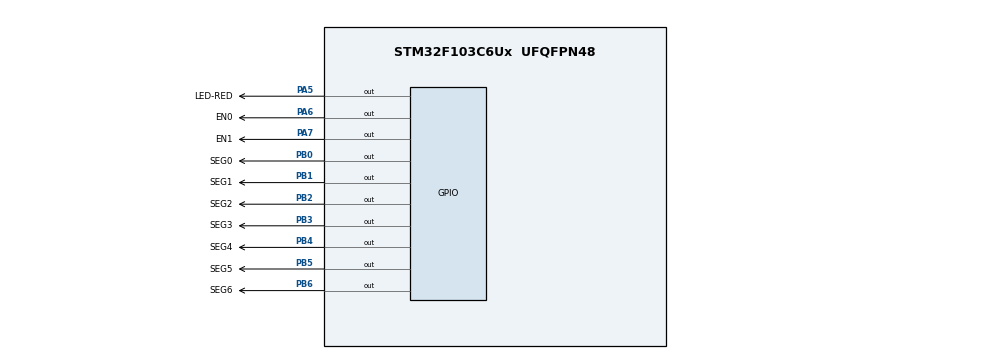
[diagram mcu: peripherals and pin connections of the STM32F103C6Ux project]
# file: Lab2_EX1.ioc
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Mcu.Family=STM32F1
Mcu.Name=STM32F103C6Ux
Mcu.Package=UFQFPN48
NVIC.PriorityGroup=NVIC_PRIORITYGROUP_4
NVIC.TIM2_IRQn=true\:0\:0\:false\:false\:true\:true\:true
PA5.GPIO_Label=LED-RED
PA5.Signal=GPIO_Output
PA6.GPIO_Label=EN0
PA6.Signal=GPIO_Output
PA7.GPIO_Label=EN1
PA7.Signal=GPIO_Output
PB0.GPIO_Label=SEG0
PB0.Signal=GPIO_Output
PB1.GPIO_Label=SEG1
PB1.Signal=GPIO_Output
PB2.GPIO_Label=SEG2
PB2.Signal=GPIO_Output
PB3.GPIO_Label=SEG3
PB3.Signal=GPIO_Output
PB4.GPIO_Label=SEG4
PB4.Signal=GPIO_Output
PB5.GPIO_Label=SEG5
PB5.Signal=GPIO_Output
PB6.GPIO_Label=SEG6
PB6.Signal=GPIO_Output
ProjectManager.HeapSize=0x200
ProjectManager.StackSize=0x400
ProjectManager.TargetToolchain=STM32CubeIDE
RCC.APB1Freq_Value=8000000
RCC.APB2Freq_Value=8000000
TIM2.Period=9
TIM2.Prescaler=7999
VP_SYS_VS_ND.Mode=No_Debug
VP_TIM2_VS_ClockSourceINT.Mode=Internal
board=custom

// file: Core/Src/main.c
/* USER CODE BEGIN Header */
/**
  ******************************************************************************
  * @file           : main.c
  * @brief          : Main program body
  ******************************************************************************
  * @attention
  *
  * <h2><center>&copy; Copyright (c) 2025 STMicroelectronics.
  * All rights reserved.</center></h2>
  *
  * This software component is licensed by ST under BSD 3-Clause license,
  * the "License"; You may not use this file except in compliance with the
  * License. You may obtain a copy of the License at:
  *                        opensource.org/licenses/BSD-3-Clause
  *
  ******************************************************************************
  */
/* USER CODE END Header */
#include "main.h"

TIM_HandleTypeDef htim2;

void SystemClock_Config(void);
static void MX_GPIO_Init(void);
static void MX_TIM2_Init(void);

/* USER CODE BEGIN 0 */
static const uint8_t segCode[10] = {
    0b1000000, // 0
    0b1111001, // 1
    0b0100100, // 2
    0b0110000, // 3
    0b0011001, // 4
    0b0010010, // 5
    0b0000010, // 6
    0b1111000, // 7
    0b0000000, // 8
    0b0010000  // 9
};

void display7SEG(int num) {
    if (num < 0 || num > 9) num = 0;

    for (int i = 0; i < 7; i++) {
        HAL_GPIO_WritePin(GPIOB, (1 << i),
            (segCode[num] & (1 << i)) ? GPIO_PIN_SET : GPIO_PIN_RESET);
    }
}
/* USER CODE END 0 */

int main(void)
{

  /* MCU Configuration--------------------------------------------------------*/

  /* Reset of all peripherals, Initializes the Flash interface and the Systick. */
  HAL_Init();

  /* Configure the system clock */
  SystemClock_Config();

  /* Initialize all configured peripherals */
  MX_GPIO_Init();
  MX_TIM2_Init();
  /* USER CODE BEGIN 2 */
  HAL_TIM_Base_Start_IT (& htim2 );

  /* USER CODE END 2 */

  /* Infinite loop */
  while (1)
  {

  }
}

void SystemClock_Config(void)
{
  RCC_OscInitTypeDef RCC_OscInitStruct = {0};
  RCC_ClkInitTypeDef RCC_ClkInitStruct = {0};

  /** Initializes the RCC Oscillators according to the specified parameters
  * in the RCC_OscInitTypeDef structure.
  */
  RCC_OscInitStruct.OscillatorType = RCC_OSCILLATORTYPE_HSI;
  RCC_OscInitStruct.HSIState = RCC_HSI_ON;
  RCC_OscInitStruct.HSICalibrationValue = RCC_HSICALIBRATION_DEFAULT;
  RCC_OscInitStruct.PLL.PLLState = RCC_PLL_NONE;
  if (HAL_RCC_OscConfig(&RCC_OscInitStruct) != HAL_OK)
  {
    Error_Handler();
  }
  /** Initializes the CPU, AHB and APB buses clocks
  */
  RCC_ClkInitStruct.ClockType = RCC_CLOCKTYPE_HCLK|RCC_CLOCKTYPE_SYSCLK
                              |RCC_CLOCKTYPE_PCLK1|RCC_CLOCKTYPE_PCLK2;
  RCC_ClkInitStruct.SYSCLKSource = RCC_SYSCLKSOURCE_HSI;
  RCC_ClkInitStruct.AHBCLKDivider = RCC_SYSCLK_DIV1;
  RCC_ClkInitStruct.APB1CLKDivider = RCC_HCLK_DIV1;
  RCC_ClkInitStruct.APB2CLKDivider = RCC_HCLK_DIV1;

  if (HAL_RCC_ClockConfig(&RCC_ClkInitStruct, FLASH_LATENCY_0) != HAL_OK)
  {
    Error_Handler();
  }
}

static void MX_TIM2_Init(void)
{

  TIM_ClockConfigTypeDef sClockSourceConfig = {0};
  TIM_MasterConfigTypeDef sMasterConfig = {0};

  htim2.Instance = TIM2;
  htim2.Init.Prescaler = 7999;
  htim2.Init.CounterMode = TIM_COUNTERMODE_UP;
  htim2.Init.Period = 9;
  htim2.Init.ClockDivision = TIM_CLOCKDIVISION_DIV1;
  htim2.Init.AutoReloadPreload = TIM_AUTORELOAD_PRELOAD_DISABLE;
  if (HAL_TIM_Base_Init(&htim2) != HAL_OK)
  {
    Error_Handler();
  }
  sClockSourceConfig.ClockSource = TIM_CLOCKSOURCE_INTERNAL;
  if (HAL_TIM_ConfigClockSource(&htim2, &sClockSourceConfig) != HAL_OK)
  {
    Error_Handler();
  }
  sMasterConfig.MasterOutputTrigger = TIM_TRGO_RESET;
  sMasterConfig.MasterSlaveMode = TIM_MASTERSLAVEMODE_DISABLE;
  if (HAL_TIMEx_MasterConfigSynchronization(&htim2, &sMasterConfig) != HAL_OK)
  {
    Error_Handler();
  }

}

static void MX_GPIO_Init(void)
{
  GPIO_InitTypeDef GPIO_InitStruct = {0};

  /* GPIO Ports Clock Enable */
  __HAL_RCC_GPIOA_CLK_ENABLE();
  __HAL_RCC_GPIOB_CLK_ENABLE();

  /*Configure GPIO pin Output Level */
  HAL_GPIO_WritePin(GPIOA, LED_RED_Pin|EN0_Pin|EN1_Pin, GPIO_PIN_RESET);

  /*Configure GPIO pin Output Level */
  HAL_GPIO_WritePin(GPIOB, SEG0_Pin|SEG1_Pin|SEG2_Pin|SEG3_Pin
                          |SEG4_Pin|SEG5_Pin|SEG6_Pin, GPIO_PIN_RESET);

  /*Configure GPIO pins : LED_RED_Pin EN0_Pin EN1_Pin */
  GPIO_InitStruct.Pin = LED_RED_Pin|EN0_Pin|EN1_Pin;
  GPIO_InitStruct.Mode = GPIO_MODE_OUTPUT_PP;
  GPIO_InitStruct.Pull = GPIO_NOPULL;
  GPIO_InitStruct.Speed = GPIO_SPEED_FREQ_LOW;
  HAL_GPIO_Init(GPIOA, &GPIO_InitStruct);

  /*Configure GPIO pins : SEG0_Pin SEG1_Pin SEG2_Pin SEG3_Pin
                           SEG4_Pin SEG5_Pin SEG6_Pin */
  GPIO_InitStruct.Pin = SEG0_Pin|SEG1_Pin|SEG2_Pin|SEG3_Pin
                          |SEG4_Pin|SEG5_Pin|SEG6_Pin;
  GPIO_InitStruct.Mode = GPIO_MODE_OUTPUT_PP;
  GPIO_InitStruct.Pull = GPIO_NOPULL;
  GPIO_InitStruct.Speed = GPIO_SPEED_FREQ_LOW;
  HAL_GPIO_Init(GPIOB, &GPIO_InitStruct);

}

/* USER CODE BEGIN 4 */
int counter = 100;

void HAL_TIM_PeriodElapsedCallback(TIM_HandleTypeDef *htim) {
        counter--;

        if (counter <=0) { // 500 * 1ms = 500ms
            counter = 100;
            HAL_GPIO_TogglePin(GPIOA, LED_RED_Pin);
        }

        if (counter>50) {
            // Bật LED1, tắt LED2
            HAL_GPIO_WritePin(GPIOA, EN0_Pin, GPIO_PIN_RESET);
            HAL_GPIO_WritePin(GPIOA, EN1_Pin, GPIO_PIN_SET);
            display7SEG(1);
        } else {
            // Bật LED2, tắt LED1
            HAL_GPIO_WritePin(GPIOA, EN0_Pin, GPIO_PIN_SET);
            HAL_GPIO_WritePin(GPIOA, EN1_Pin, GPIO_PIN_RESET);
            display7SEG(2);
        }

}

/* USER CODE END 4 */

void Error_Handler(void)
{
  __disable_irq();
  while (1)
  {
  }
}

/************************ (C) COPYRIGHT STMicroelectronics *****END OF FILE****/
